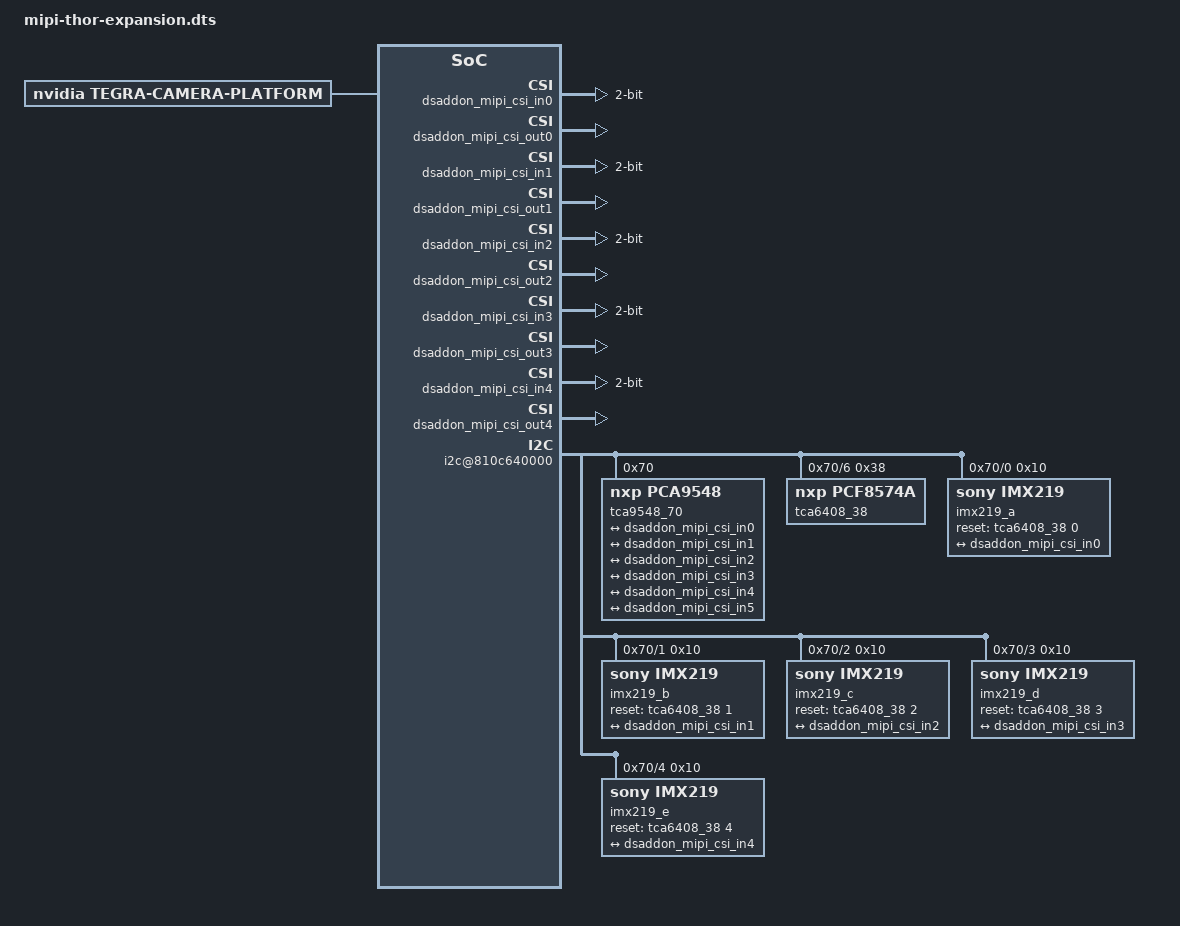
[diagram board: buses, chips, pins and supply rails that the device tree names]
/dts-v1/;
/plugin/;

#include <dt-bindings/clock/tegra264-clock.h>
#include <dt-bindings/gpio/tegra264-gpio.h>
//#include <dt-bindings/tegra234-p3737-0000+p3701-0000.h>

#define JETSON_COMPATIBLE	"nvidia,p3971-0089+p3834-0008", "nvidia,p3971-0050+p3834-0005", "nvidia,p3971-0080+p3834-0008", "nvidia,p3834-0008", "nvidia,tegra264"

/ {
	overlay-name = "Dsaddon mipi agx 6ch";
	jetson-header-name = "Jetson AGX CSI Connector";
	compatible = JETSON_COMPATIBLE;
	
	fragment-mipi-camera-forecr-6ch@0 {
		target-path = "/";
		__overlay__ {
			tegra-capture-vi {
				num-channels = <0x06>;
				
				ports {
					status = "okay";
					
					port@0 {
						status = "okay";
						reg = <0>;
						dsaddon_mipi_vi_in0: endpoint {
							status = "okay";
							port-index = <0>;
							bus-width = <2>;
							remote-endpoint = <&dsaddon_mipi_csi_out0>;
						};
					};
					port@1 {
						status = "okay";
						reg = <1>;
						dsaddon_mipi_vi_in1: endpoint {
							status = "okay";
							port-index = <1>;
							bus-width = <2>;
							remote-endpoint = <&dsaddon_mipi_csi_out1>;
						};
					};
					port@2 {
						status = "okay";
						reg = <2>;
						dsaddon_mipi_vi_in2: endpoint {
							status = "okay";
							port-index = <2>;
							bus-width = <2>;
							remote-endpoint = <&dsaddon_mipi_csi_out2>;
						};
					};
					port@3 {
						status = "okay";
						reg = <3>;
						dsaddon_mipi_vi_in3: endpoint {
							status = "okay";
							port-index = <3>;
							bus-width = <2>;
							remote-endpoint = <&dsaddon_mipi_csi_out3>;
						};
					};
					port@4 {
						status = "okay";
						reg = <4>;
						dsaddon_mipi_vi_in4: endpoint {
							status = "okay";
							port-index = <4>;
							bus-width = <2>;
							remote-endpoint = <&dsaddon_mipi_csi_out4>;
						};
					};
					port@5 {
						status="disabled";
						reg = <5>;
						dsaddon_mipi_vi_in5: endpoint {
							status="disabled";
							port-index = <5>;
							bus-width = <2>;
							remote-endpoint = <&dsaddon_mipi_csi_out5>;
						};
					};
				};
			};
			bus@0 {
				host1x@8181200000 {
					nvcsi@8188000000 {
						num-channels = <0x06>;
						#address-cells = <1>;
						#size-cells = <0>;
						channel@0 {
							status = "okay";
							reg = <0>;
							ports {
								#address-cells = <1>;
								#size-cells = <0>;
								port@0 {
									status = "okay";
									reg = <0>;
									dsaddon_mipi_csi_in0: endpoint@0 {
										status = "okay";
										port-index = <0>;
										bus-width = <2>;
										remote-endpoint = <&dsaddon_mipi_imx219_out0>;
									};
								};
								port@1 {
									status = "okay";
									reg = <1>;
									dsaddon_mipi_csi_out0: endpoint@1 {
										status = "okay";
										remote-endpoint = <&dsaddon_mipi_vi_in0>;
									};
								};
							};
						};
						
						channel@1 {
							status = "okay";
							reg = <1>;
							ports {
								#address-cells = <1>;
								#size-cells = <0>;
								port@0 {
									status = "okay";
									reg = <0>;
									dsaddon_mipi_csi_in1: endpoint@2 {
										status = "okay";
										port-index = <1>;
										bus-width = <2>;
										remote-endpoint = <&dsaddon_mipi_imx219_out1>;
									};
								};
								port@1 {
									status = "okay";
									reg = <1>;
									dsaddon_mipi_csi_out1: endpoint@3 {
										status = "okay";
										remote-endpoint = <&dsaddon_mipi_vi_in1>;
									};
								};
							};
						};
						
						channel@2 {
							status = "okay";
							reg = <2>;
							ports {
								#address-cells = <1>;
								#size-cells = <0>;
								port@0 {
									status = "okay";
									reg = <0>;
									dsaddon_mipi_csi_in2: endpoint@4 {
										status = "okay";
										port-index = <2>;
										bus-width = <2>;
										remote-endpoint = <&dsaddon_mipi_imx219_out2>;
									};
								};
								port@1 {
									status = "okay";
									reg = <1>;
									dsaddon_mipi_csi_out2: endpoint@5 {
										status = "okay";
										remote-endpoint = <&dsaddon_mipi_vi_in2>;
									};
								};
							};
						};
						channel@3 {
							status = "okay";
							reg = <3>;
							ports {
								#address-cells = <1>;
								#size-cells = <0>;
								port@0 {
									status = "okay";
									reg = <0>;
									dsaddon_mipi_csi_in3: endpoint@6 {
										status = "okay";
										port-index = <3>;
										bus-width = <2>;
										remote-endpoint = <&dsaddon_mipi_imx219_out3>;
									};
								};
								port@1 {
									status = "okay";
									reg = <1>;
									dsaddon_mipi_csi_out3: endpoint@7 {
										status = "okay";
										remote-endpoint = <&dsaddon_mipi_vi_in3>;
									};
								};
							};
						};
						channel@4 {
							status = "okay";
							reg = <4>;
							ports {
								#address-cells = <1>;
								#size-cells = <0>;
								port@0 {
									status = "okay";
									reg = <0>;
									dsaddon_mipi_csi_in4: endpoint@8 {
										status = "okay";
										port-index = <4>;
										bus-width = <2>;
										remote-endpoint = <&dsaddon_mipi_imx219_out4>;
									};
								};
								port@1 {
									status = "okay";
									reg = <1>;
									dsaddon_mipi_csi_out4: endpoint@9 {
										status = "okay";
										remote-endpoint = <&dsaddon_mipi_vi_in4>;
									};
								};
							};
						};
						
						channel@5 {
							status="disabled";
							reg = <5>;
							ports {
								#address-cells = <1>;
								#size-cells = <0>;
								port@0 {
									status="disabled";
									reg = <0>;
									dsaddon_mipi_csi_in5: endpoint@10 {
										status="disabled";
										port-index = <5>;
										bus-width = <2>;
										remote-endpoint = <&dsaddon_mipi_imx219_out5>;
									};
								};
								port@1 {
									status="disabled";
									reg = <1>;
									dsaddon_mipi_csi_out5: endpoint@11 {
										status="disabled";
										remote-endpoint = <&dsaddon_mipi_vi_in5>;
									};
								};
							};
						};
					};
				};
				
				i2c@810c640000 {
					status = "okay";
					
					tca9548_70: tca9548@70 {
						status = "okay";
						compatible = "nxp,pca9548";
						reg = <0x70>;
						#address-cells = <1>;
						#size-cells = <0>;
						i2c-mux-idle-disconnect;
						skip_mux_detect = "yes";
						vcc_lp = "vcc";
						
						i2c@6 {
							status = "okay";
							reg = <0x06>;
							#address-cells = <0x01>;
							#size-cells = <0x00>;
							
							tca6408_38: tca6408@38 {
								status = "okay";
								compatible = "nxp,pcf8574a";
								reg = <0x38>;
								gpio-controller;
								#gpio-cells = <2>;
								lines-initial-states = <0x00>;
								gpio-line-names =
								"tca6408_38_outlow_0",
								"tca6408_38_outlow_1",
								"tca6408_38_outlow_2",
								"tca6408_38_outlow_3",
								"tca6408_38_outlow_4",
								"tca6408_38_outlow_5",
								"tca6408_38_outlow_6",
								"tca6408_38_outlow_7";
							};
						};
						i2c@0 {
							status = "okay";
							reg = <0x00>;
							i2c-mux,deselect-on-exit;
							#address-cells = <0x01>;
							#size-cells = <0x00>;
							
							imx219_a@10 {
								status = "okay";
								compatible = "sony,imx219";
								/* I2C device address */
								reg = <0x10>;
								
								/* V4L2 device node location */
								devnode = "video0";
								
								/* Physical dimensions of sensor */
								physical_w = "3.680";
								physical_h = "2.760";
								
								sensor_model = "imx219";
								
								use_sensor_mode_id = "true";
								reset-gpios = <&tca6408_38 0 GPIO_ACTIVE_HIGH>;
								mode0 { /* IMX219_MODE_3280x2464_21FPS */
									mclk_khz = "24000";
									num_lanes = "2";
									tegra_sinterface = "serial_a";
									phy_mode = "DPHY";
									discontinuous_clk = "yes";
									dpcm_enable = "false";
									cil_settletime = "0";
									
									active_w = "3280";
									active_h = "2464";
									mode_type = "bayer";
									pixel_phase = "rggb";
									csi_pixel_bit_depth = "10";
									readout_orientation = "90";
									line_length = "3448";
									inherent_gain = "1";
									mclk_multiplier = "9.33";
									pix_clk_hz = "182400000";
									
									gain_factor = "16";
									framerate_factor = "1000000";
									exposure_factor = "1000000";
									min_gain_val = "16"; /* 1.00x */
									max_gain_val = "170"; /* 10.66x */
									step_gain_val = "1";
									default_gain = "16"; /* 1.00x */
									min_hdr_ratio = "1";
									max_hdr_ratio = "1";
									min_framerate = "2000000"; /* 2.0 fps */
									max_framerate = "21000000"; /* 21.0 fps */
									step_framerate = "1";
									default_framerate = "21000000"; /* 21.0 fps */
									min_exp_time = "13"; /* us */
									max_exp_time = "683709"; /* us */
									step_exp_time = "1";
									default_exp_time = "2495"; /* us */
									
									embedded_metadata_height = "2";
								};
								mode1 { /* IMX219_MODE_3280x1848_28FPS */
									mclk_khz = "24000";
									num_lanes = "2";
									tegra_sinterface = "serial_a";
									phy_mode = "DPHY";
									discontinuous_clk = "yes";
									dpcm_enable = "false";
									cil_settletime = "0";
									
									active_w = "3280";
									active_h = "1848";
									mode_type = "bayer";
									pixel_phase = "rggb";
									csi_pixel_bit_depth = "10";
									readout_orientation = "90";
									line_length = "3448";
									inherent_gain = "1";
									mclk_multiplier = "9.33";
									pix_clk_hz = "182400000";
									
									gain_factor = "16";
									framerate_factor = "1000000";
									exposure_factor = "1000000";
									min_gain_val = "16"; /* 1.00x */
									max_gain_val = "170"; /* 10.66x */
									step_gain_val = "1";
									default_gain = "16"; /* 1.00x */
									min_hdr_ratio = "1";
									max_hdr_ratio = "1";
									min_framerate = "2000000"; /* 2.0 fps */
									max_framerate = "28000000"; /* 28.0 fps */
									step_framerate = "1";
									default_framerate = "28000000"; /* 28.0 fps */
									min_exp_time = "13"; /* us */
									max_exp_time = "683709"; /* us */
									step_exp_time = "1";
									default_exp_time = "2495"; /* us */
									
									embedded_metadata_height = "2";
								};
								mode2 { /* IMX219_MODE_1920x1080_30FPS */
									mclk_khz = "24000";
									num_lanes = "2";
									tegra_sinterface = "serial_a";
									phy_mode = "DPHY";
									discontinuous_clk = "yes";
									dpcm_enable = "false";
									cil_settletime = "0";
									
									active_w = "1920";
									active_h = "1080";
									mode_type = "bayer";
									pixel_phase = "rggb";
									csi_pixel_bit_depth = "10";
									readout_orientation = "90";
									line_length = "3448";
									inherent_gain = "1";
									mclk_multiplier = "9.33";
									pix_clk_hz = "182400000";
									
									gain_factor = "16";
									framerate_factor = "1000000";
									exposure_factor = "1000000";
									min_gain_val = "16"; /* 1.00x */
									max_gain_val = "170"; /* 10.66x */
									step_gain_val = "1";
									default_gain = "16"; /* 1.00x */
									min_hdr_ratio = "1";
									max_hdr_ratio = "1";
									min_framerate = "2000000"; /* 2.0 fps */
									max_framerate = "30000000"; /* 30.0 fps */
									step_framerate = "1";
									default_framerate = "30000000"; /* 30.0 fps */
									min_exp_time = "13"; /* us */
									max_exp_time = "683709"; /* us */
									step_exp_time = "1";
									default_exp_time = "2495"; /* us */
									
									embedded_metadata_height = "2";
								};
								
								mode3 { /* IMX219_MODE_1640x1232_30FPS */
									mclk_khz = "24000";
									num_lanes = "2";
									tegra_sinterface = "serial_a";
									phy_mode = "DPHY";
									discontinuous_clk = "yes";
									dpcm_enable = "false";
									cil_settletime = "0";
									
									active_w = "1640";
									active_h = "1232";
									mode_type = "bayer";
									pixel_phase = "rggb";
									csi_pixel_bit_depth = "10";
									readout_orientation = "90";
									line_length = "3448";
									inherent_gain = "1";
									mclk_multiplier = "9.33";
									pix_clk_hz = "182400000";
									
									gain_factor = "16";
									framerate_factor = "1000000";
									exposure_factor = "1000000";
									min_gain_val = "16"; /* 1.00x */
									max_gain_val = "170"; /* 10.66x */
									step_gain_val = "1";
									default_gain = "16"; /* 1.00x */
									min_hdr_ratio = "1";
									max_hdr_ratio = "1";
									min_framerate = "2000000"; /* 2.0 fps */
									max_framerate = "30000000"; /* 60.0 fps */
									step_framerate = "1";
									default_framerate = "30000000"; /* 60.0 fps */
									min_exp_time = "13"; /* us */
									max_exp_time = "683709"; /* us */
									step_exp_time = "1";
									default_exp_time = "2495"; /* us */
									
									embedded_metadata_height = "2";
								};
								
								mode4 { /* IMX219_MODE_1280x720_60FPS */
									mclk_khz = "24000";
									num_lanes = "2";
									tegra_sinterface = "serial_a";
									phy_mode = "DPHY";
									discontinuous_clk = "yes";
									dpcm_enable = "false";
									cil_settletime = "0";
									
									active_w = "1280";
									active_h = "720";
									mode_type = "bayer";
									pixel_phase = "rggb";
									csi_pixel_bit_depth = "10";
									readout_orientation = "90";
									line_length = "3448";
									inherent_gain = "1";
									mclk_multiplier = "9.33";
									pix_clk_hz = "182400000";
									
									gain_factor = "16";
									framerate_factor = "1000000";
									exposure_factor = "1000000";
									min_gain_val = "16"; /* 1.00x */
									max_gain_val = "170"; /* 10.66x */
									step_gain_val = "1";
									default_gain = "16"; /* 1.00x */
									min_hdr_ratio = "1";
									max_hdr_ratio = "1";
									min_framerate = "2000000"; /* 2.0 fps */
									max_framerate = "60000000"; /* 60.0 fps */
									step_framerate = "1";
									default_framerate = "60000000"; /* 60.0 fps */
									min_exp_time = "13"; /* us */
									max_exp_time = "683709"; /* us */
									step_exp_time = "1";
									default_exp_time = "2495"; /* us */
									
									embedded_metadata_height = "2";
								};
								
								ports {
									#address-cells = <1>;
									#size-cells = <0>;
									
									port@0 {
										status = "okay";
										reg = <0>;
										dsaddon_mipi_imx219_out0: endpoint {
											status = "okay";
											port-index = <0>;
											bus-width = <2>;
											remote-endpoint = <&dsaddon_mipi_csi_in0>;
										};
									};
								};
							};
						};
						i2c@1 {
							status = "okay";
							reg = <0x01>;
							i2c-mux,deselect-on-exit;
							#address-cells = <0x01>;
							#size-cells = <0x00>;
							imx219_b@10 {
								status = "okay";
								compatible = "sony,imx219";
								/* I2C device address */
								reg = <0x10>;
								
								/* V4L2 device node location */
								devnode = "video1";
								
								/* Physical dimensions of sensor */
								physical_w = "3.680";
								physical_h = "2.760";
								
								sensor_model = "imx219";
								
								use_sensor_mode_id = "true";
								reset-gpios = <&tca6408_38 1 GPIO_ACTIVE_HIGH>;
								mode0 { /* IMX219_MODE_3280x2464_21FPS */
									mclk_khz = "24000";
									num_lanes = "2";
									tegra_sinterface = "serial_b";
									phy_mode = "DPHY";
									discontinuous_clk = "yes";
									dpcm_enable = "false";
									cil_settletime = "0";
									
									active_w = "3280";
									active_h = "2464";
									mode_type = "bayer";
									pixel_phase = "rggb";
									csi_pixel_bit_depth = "10";
									readout_orientation = "90";
									line_length = "3448";
									inherent_gain = "1";
									mclk_multiplier = "9.33";
									pix_clk_hz = "182400000";
									
									gain_factor = "16";
									framerate_factor = "1000000";
									exposure_factor = "1000000";
									min_gain_val = "16"; /* 1.00x */
									max_gain_val = "170"; /* 10.66x */
									step_gain_val = "1";
									default_gain = "16"; /* 1.00x */
									min_hdr_ratio = "1";
									max_hdr_ratio = "1";
									min_framerate = "2000000"; /* 2.0 fps */
									max_framerate = "21000000"; /* 21.0 fps */
									step_framerate = "1";
									default_framerate = "21000000"; /* 21.0 fps */
									min_exp_time = "13"; /* us */
									max_exp_time = "683709"; /* us */
									step_exp_time = "1";
									default_exp_time = "2495"; /* us */
									
									embedded_metadata_height = "2";
								};
								mode1 { /* IMX219_MODE_3280x1848_28FPS */
									mclk_khz = "24000";
									num_lanes = "2";
									tegra_sinterface = "serial_b";
									phy_mode = "DPHY";
									discontinuous_clk = "yes";
									dpcm_enable = "false";
									cil_settletime = "0";
									
									active_w = "3280";
									active_h = "1848";
									mode_type = "bayer";
									pixel_phase = "rggb";
									csi_pixel_bit_depth = "10";
									readout_orientation = "90";
									line_length = "3448";
									inherent_gain = "1";
									mclk_multiplier = "9.33";
									pix_clk_hz = "182400000";
									
									gain_factor = "16";
									framerate_factor = "1000000";
									exposure_factor = "1000000";
									min_gain_val = "16"; /* 1.00x */
									max_gain_val = "170"; /* 10.66x */
									step_gain_val = "1";
									default_gain = "16"; /* 1.00x */
									min_hdr_ratio = "1";
									max_hdr_ratio = "1";
									min_framerate = "2000000"; /* 2.0 fps */
									max_framerate = "28000000"; /* 28.0 fps */
									step_framerate = "1";
									default_framerate = "28000000"; /* 28.0 fps */
									min_exp_time = "13"; /* us */
									max_exp_time = "683709"; /* us */
									step_exp_time = "1";
									default_exp_time = "2495"; /* us */
									
									embedded_metadata_height = "2";
								};
								mode2 { /* IMX219_MODE_1920x1080_30FPS */
									mclk_khz = "24000";
									num_lanes = "2";
									tegra_sinterface = "serial_b";
									phy_mode = "DPHY";
									discontinuous_clk = "yes";
									dpcm_enable = "false";
									cil_settletime = "0";
									
									active_w = "1920";
									active_h = "1080";
									mode_type = "bayer";
									pixel_phase = "rggb";
									csi_pixel_bit_depth = "10";
									readout_orientation = "90";
									line_length = "3448";
									inherent_gain = "1";
									mclk_multiplier = "9.33";
									pix_clk_hz = "182400000";
									
									gain_factor = "16";
									framerate_factor = "1000000";
									exposure_factor = "1000000";
									min_gain_val = "16"; /* 1.00x */
									max_gain_val = "170"; /* 10.66x */
									step_gain_val = "1";
									default_gain = "16"; /* 1.00x */
									min_hdr_ratio = "1";
									max_hdr_ratio = "1";
									min_framerate = "2000000"; /* 2.0 fps */
									max_framerate = "30000000"; /* 30.0 fps */
									step_framerate = "1";
									default_framerate = "30000000"; /* 30.0 fps */
									min_exp_time = "13"; /* us */
									max_exp_time = "683709"; /* us */
									step_exp_time = "1";
									default_exp_time = "2495"; /* us */
									
									embedded_metadata_height = "2";
								};
								
								mode3 { /* IMX219_MODE_1640x1232_30FPS */
									mclk_khz = "24000";
									num_lanes = "2";
									tegra_sinterface = "serial_b";
									phy_mode = "DPHY";
									discontinuous_clk = "yes";
									dpcm_enable = "false";
									cil_settletime = "0";
									
									active_w = "1640";
									active_h = "1232";
									mode_type = "bayer";
									pixel_phase = "rggb";
									csi_pixel_bit_depth = "10";
									readout_orientation = "90";
									line_length = "3448";
									inherent_gain = "1";
									mclk_multiplier = "9.33";
									pix_clk_hz = "182400000";
									
									gain_factor = "16";
									framerate_factor = "1000000";
									exposure_factor = "1000000";
									min_gain_val = "16"; /* 1.00x */
									max_gain_val = "170"; /* 10.66x */
									step_gain_val = "1";
									default_gain = "16"; /* 1.00x */
									min_hdr_ratio = "1";
									max_hdr_ratio = "1";
									min_framerate = "2000000"; /* 2.0 fps */
									max_framerate = "30000000"; /* 60.0 fps */
									step_framerate = "1";
									default_framerate = "30000000"; /* 60.0 fps */
									min_exp_time = "13"; /* us */
									max_exp_time = "683709"; /* us */
									step_exp_time = "1";
									default_exp_time = "2495"; /* us */
									
									embedded_metadata_height = "2";
								};
								
								mode4 { /* IMX219_MODE_1280x720_60FPS */
									mclk_khz = "24000";
									num_lanes = "2";
									tegra_sinterface = "serial_b";
									phy_mode = "DPHY";
									discontinuous_clk = "yes";
									dpcm_enable = "false";
									cil_settletime = "0";
									
									active_w = "1280";
									active_h = "720";
									mode_type = "bayer";
									pixel_phase = "rggb";
									csi_pixel_bit_depth = "10";
									readout_orientation = "90";
									line_length = "3448";
									inherent_gain = "1";
									mclk_multiplier = "9.33";
									pix_clk_hz = "182400000";
									
									gain_factor = "16";
									framerate_factor = "1000000";
									exposure_factor = "1000000";
									min_gain_val = "16"; /* 1.00x */
									max_gain_val = "170"; /* 10.66x */
									step_gain_val = "1";
									default_gain = "16"; /* 1.00x */
									min_hdr_ratio = "1";
									max_hdr_ratio = "1";
									min_framerate = "2000000"; /* 2.0 fps */
									max_framerate = "60000000"; /* 60.0 fps */
									step_framerate = "1";
									default_framerate = "60000000"; /* 60.0 fps */
									min_exp_time = "13"; /* us */
									max_exp_time = "683709"; /* us */
									step_exp_time = "1";
									default_exp_time = "2495"; /* us */
									
									embedded_metadata_height = "2";
								};
								
								ports {
									#address-cells = <1>;
									#size-cells = <0>;
									
									port@0 {
										reg = <0>;
										dsaddon_mipi_imx219_out1: endpoint {
											port-index = <1>;
											bus-width = <2>;
											remote-endpoint = <&dsaddon_mipi_csi_in1>;
										};
									};
								};
							};
						};
						i2c@2 {
							status = "okay";
							reg = <0x02>;
							i2c-mux,deselect-on-exit;
							#address-cells = <0x01>;
							#size-cells = <0x00>;
							imx219_c@10 {
								status = "okay";
								compatible = "sony,imx219";
								/* I2C device address */
								reg = <0x10>;
								
								/* V4L2 device node location */
								devnode = "video2";
								
								/* Physical dimensions of sensor */
								physical_w = "3.680";
								physical_h = "2.760";
								
								sensor_model = "imx219";
								
								use_sensor_mode_id = "true";
								
								reset-gpios = <&tca6408_38 2 GPIO_ACTIVE_HIGH>;
								mode0 { /* IMX219_MODE_3280x2464_21FPS */
									mclk_khz = "24000";
									num_lanes = "2";
									tegra_sinterface = "serial_c";
									phy_mode = "DPHY";
									discontinuous_clk = "yes";
									dpcm_enable = "false";
									cil_settletime = "0";
									
									active_w = "3280";
									active_h = "2464";
									mode_type = "bayer";
									pixel_phase = "rggb";
									csi_pixel_bit_depth = "10";
									readout_orientation = "90";
									line_length = "3448";
									inherent_gain = "1";
									mclk_multiplier = "9.33";
									pix_clk_hz = "182400000";
									
									gain_factor = "16";
									framerate_factor = "1000000";
									exposure_factor = "1000000";
									min_gain_val = "16"; /* 1.00x */
									max_gain_val = "170"; /* 10.66x */
									step_gain_val = "1";
									default_gain = "16"; /* 1.00x */
									min_hdr_ratio = "1";
									max_hdr_ratio = "1";
									min_framerate = "2000000"; /* 2.0 fps */
									max_framerate = "21000000"; /* 21.0 fps */
									step_framerate = "1";
									default_framerate = "21000000"; /* 21.0 fps */
									min_exp_time = "13"; /* us */
									max_exp_time = "683709"; /* us */
									step_exp_time = "1";
									default_exp_time = "2495"; /* us */
									
									embedded_metadata_height = "2";
								};
								mode1 { /* IMX219_MODE_3280x1848_28FPS */
									mclk_khz = "24000";
									num_lanes = "2";
									tegra_sinterface = "serial_c";
									phy_mode = "DPHY";
									discontinuous_clk = "yes";
									dpcm_enable = "false";
									cil_settletime = "0";
									
									active_w = "3280";
									active_h = "1848";
									mode_type = "bayer";
									pixel_phase = "rggb";
									csi_pixel_bit_depth = "10";
									readout_orientation = "90";
									line_length = "3448";
									inherent_gain = "1";
									mclk_multiplier = "9.33";
									pix_clk_hz = "182400000";
									
									gain_factor = "16";
									framerate_factor = "1000000";
									exposure_factor = "1000000";
									min_gain_val = "16"; /* 1.00x */
									max_gain_val = "170"; /* 10.66x */
									step_gain_val = "1";
									default_gain = "16"; /* 1.00x */
									min_hdr_ratio = "1";
									max_hdr_ratio = "1";
									min_framerate = "2000000"; /* 2.0 fps */
									max_framerate = "28000000"; /* 28.0 fps */
									step_framerate = "1";
									default_framerate = "28000000"; /* 28.0 fps */
									min_exp_time = "13"; /* us */
									max_exp_time = "683709"; /* us */
									step_exp_time = "1";
									default_exp_time = "2495"; /* us */
									
									embedded_metadata_height = "2";
								};
								mode2 { /* IMX219_MODE_1920x1080_30FPS */
									mclk_khz = "24000";
									num_lanes = "2";
									tegra_sinterface = "serial_c";
									phy_mode = "DPHY";
									discontinuous_clk = "yes";
									dpcm_enable = "false";
									cil_settletime = "0";
									
									active_w = "1920";
									active_h = "1080";
									mode_type = "bayer";
									pixel_phase = "rggb";
									csi_pixel_bit_depth = "10";
									readout_orientation = "90";
									line_length = "3448";
									inherent_gain = "1";
									mclk_multiplier = "9.33";
									pix_clk_hz = "182400000";
									
									gain_factor = "16";
									framerate_factor = "1000000";
									exposure_factor = "1000000";
									min_gain_val = "16"; /* 1.00x */
									max_gain_val = "170"; /* 10.66x */
									step_gain_val = "1";
									default_gain = "16"; /* 1.00x */
									min_hdr_ratio = "1";
									max_hdr_ratio = "1";
									min_framerate = "2000000"; /* 2.0 fps */
									max_framerate = "30000000"; /* 30.0 fps */
									step_framerate = "1";
									default_framerate = "30000000"; /* 30.0 fps */
									min_exp_time = "13"; /* us */
									max_exp_time = "683709"; /* us */
									step_exp_time = "1";
									default_exp_time = "2495"; /* us */
									
									embedded_metadata_height = "2";
								};
								
								mode3 { /* IMX219_MODE_1640x1232_30FPS */
									mclk_khz = "24000";
									num_lanes = "2";
									tegra_sinterface = "serial_c";
									phy_mode = "DPHY";
									discontinuous_clk = "yes";
									dpcm_enable = "false";
									cil_settletime = "0";
									
									active_w = "1640";
									active_h = "1232";
									mode_type = "bayer";
									pixel_phase = "rggb";
									csi_pixel_bit_depth = "10";
									readout_orientation = "90";
									line_length = "3448";
									inherent_gain = "1";
									mclk_multiplier = "9.33";
									pix_clk_hz = "182400000";
									
									gain_factor = "16";
									framerate_factor = "1000000";
									exposure_factor = "1000000";
									min_gain_val = "16"; /* 1.00x */
									max_gain_val = "170"; /* 10.66x */
									step_gain_val = "1";
									default_gain = "16"; /* 1.00x */
									min_hdr_ratio = "1";
									max_hdr_ratio = "1";
									min_framerate = "2000000"; /* 2.0 fps */
									max_framerate = "30000000"; /* 60.0 fps */
									step_framerate = "1";
									default_framerate = "30000000"; /* 60.0 fps */
									min_exp_time = "13"; /* us */
									max_exp_time = "683709"; /* us */
									step_exp_time = "1";
									default_exp_time = "2495"; /* us */
									
									embedded_metadata_height = "2";
								};
								
								mode4 { /* IMX219_MODE_1280x720_60FPS */
									mclk_khz = "24000";
									num_lanes = "2";
									tegra_sinterface = "serial_c";
									phy_mode = "DPHY";
									discontinuous_clk = "yes";
									dpcm_enable = "false";
									cil_settletime = "0";
									
									active_w = "1280";
									active_h = "720";
									mode_type = "bayer";
									pixel_phase = "rggb";
									csi_pixel_bit_depth = "10";
									readout_orientation = "90";
									line_length = "3448";
									inherent_gain = "1";
									mclk_multiplier = "9.33";
									pix_clk_hz = "182400000";
									
									gain_factor = "16";
									framerate_factor = "1000000";
									exposure_factor = "1000000";
									min_gain_val = "16"; /* 1.00x */
									max_gain_val = "170"; /* 10.66x */
									step_gain_val = "1";
									default_gain = "16"; /* 1.00x */
									min_hdr_ratio = "1";
									max_hdr_ratio = "1";
									min_framerate = "2000000"; /* 2.0 fps */
									max_framerate = "60000000"; /* 60.0 fps */
									step_framerate = "1";
									default_framerate = "60000000"; /* 60.0 fps */
									min_exp_time = "13"; /* us */
									max_exp_time = "683709"; /* us */
									step_exp_time = "1";
									default_exp_time = "2495"; /* us */
									
									embedded_metadata_height = "2";
								};
								
								ports {
									#address-cells = <1>;
									#size-cells = <0>;
									
									port@0 {
										reg = <0>;
										dsaddon_mipi_imx219_out2: endpoint {
											port-index = <2>;
											bus-width = <2>;
											remote-endpoint = <&dsaddon_mipi_csi_in2>;
										};
									};
								};
							};
						};
						i2c@3 {
							status = "okay";
							reg = <0x03>;
							i2c-mux,deselect-on-exit;
							#address-cells = <0x01>;
							#size-cells = <0x00>;
							imx219_d@10 {
								status = "okay";
								compatible = "sony,imx219";
								/* I2C device address */
								reg = <0x10>;
								
								/* V4L2 device node location */
								devnode = "video3";
								
								/* Physical dimensions of sensor */
								physical_w = "3.680";
								physical_h = "2.760";
								
								sensor_model = "imx219";
								
								use_sensor_mode_id = "true";
								
								reset-gpios = <&tca6408_38 3 GPIO_ACTIVE_HIGH>;
								mode0 { /* IMX219_MODE_3280x2464_21FPS */
									mclk_khz = "24000";
									num_lanes = "2";
									tegra_sinterface = "serial_d";
									phy_mode = "DPHY";
									discontinuous_clk = "yes";
									dpcm_enable = "false";
									cil_settletime = "0";
									
									active_w = "3280";
									active_h = "2464";
									mode_type = "bayer";
									pixel_phase = "rggb";
									csi_pixel_bit_depth = "10";
									readout_orientation = "90";
									line_length = "3448";
									inherent_gain = "1";
									mclk_multiplier = "9.33";
									pix_clk_hz = "182400000";
									
									gain_factor = "16";
									framerate_factor = "1000000";
									exposure_factor = "1000000";
									min_gain_val = "16"; /* 1.00x */
									max_gain_val = "170"; /* 10.66x */
									step_gain_val = "1";
									default_gain = "16"; /* 1.00x */
									min_hdr_ratio = "1";
									max_hdr_ratio = "1";
									min_framerate = "2000000"; /* 2.0 fps */
									max_framerate = "21000000"; /* 21.0 fps */
									step_framerate = "1";
									default_framerate = "21000000"; /* 21.0 fps */
									min_exp_time = "13"; /* us */
									max_exp_time = "683709"; /* us */
									step_exp_time = "1";
									default_exp_time = "2495"; /* us */
									
									embedded_metadata_height = "2";
								};
								mode1 { /* IMX219_MODE_3280x1848_28FPS */
									mclk_khz = "24000";
									num_lanes = "2";
									tegra_sinterface = "serial_d";
									phy_mode = "DPHY";
									discontinuous_clk = "yes";
									dpcm_enable = "false";
									cil_settletime = "0";
									
									active_w = "3280";
									active_h = "1848";
									mode_type = "bayer";
									pixel_phase = "rggb";
									csi_pixel_bit_depth = "10";
									readout_orientation = "90";
									line_length = "3448";
									inherent_gain = "1";
									mclk_multiplier = "9.33";
									pix_clk_hz = "182400000";
									
									gain_factor = "16";
									framerate_factor = "1000000";
									exposure_factor = "1000000";
									min_gain_val = "16"; /* 1.00x */
									max_gain_val = "170"; /* 10.66x */
									step_gain_val = "1";
									default_gain = "16"; /* 1.00x */
									min_hdr_ratio = "1";
									max_hdr_ratio = "1";
									min_framerate = "2000000"; /* 2.0 fps */
									max_framerate = "28000000"; /* 28.0 fps */
									step_framerate = "1";
									default_framerate = "28000000"; /* 28.0 fps */
									min_exp_time = "13"; /* us */
									max_exp_time = "683709"; /* us */
									step_exp_time = "1";
									default_exp_time = "2495"; /* us */
									
									embedded_metadata_height = "2";
								};
								mode2 { /* IMX219_MODE_1920x1080_30FPS */
									mclk_khz = "24000";
									num_lanes = "2";
									tegra_sinterface = "serial_d";
									phy_mode = "DPHY";
									discontinuous_clk = "yes";
									dpcm_enable = "false";
									cil_settletime = "0";
									
									active_w = "1920";
									active_h = "1080";
									mode_type = "bayer";
									pixel_phase = "rggb";
									csi_pixel_bit_depth = "10";
									readout_orientation = "90";
									line_length = "3448";
									inherent_gain = "1";
									mclk_multiplier = "9.33";
									pix_clk_hz = "182400000";
									
									gain_factor = "16";
									framerate_factor = "1000000";
									exposure_factor = "1000000";
									min_gain_val = "16"; /* 1.00x */
									max_gain_val = "170"; /* 10.66x */
									step_gain_val = "1";
									default_gain = "16"; /* 1.00x */
									min_hdr_ratio = "1";
									max_hdr_ratio = "1";
									min_framerate = "2000000"; /* 2.0 fps */
									max_framerate = "30000000"; /* 30.0 fps */
									step_framerate = "1";
									default_framerate = "30000000"; /* 30.0 fps */
									min_exp_time = "13"; /* us */
									max_exp_time = "683709"; /* us */
									step_exp_time = "1";
									default_exp_time = "2495"; /* us */
									
									embedded_metadata_height = "2";
								};
								
								mode3 { /* IMX219_MODE_1640x1232_30FPS */
									mclk_khz = "24000";
									num_lanes = "2";
									tegra_sinterface = "serial_d";
									phy_mode = "DPHY";
									discontinuous_clk = "yes";
									dpcm_enable = "false";
									cil_settletime = "0";
									
									active_w = "1640";
									active_h = "1232";
									mode_type = "bayer";
									pixel_phase = "rggb";
									csi_pixel_bit_depth = "10";
									readout_orientation = "90";
									line_length = "3448";
									inherent_gain = "1";
									mclk_multiplier = "9.33";
									pix_clk_hz = "182400000";
									
									gain_factor = "16";
									framerate_factor = "1000000";
									exposure_factor = "1000000";
									min_gain_val = "16"; /* 1.00x */
									max_gain_val = "170"; /* 10.66x */
									step_gain_val = "1";
									default_gain = "16"; /* 1.00x */
									min_hdr_ratio = "1";
									max_hdr_ratio = "1";
									min_framerate = "2000000"; /* 2.0 fps */
									max_framerate = "30000000"; /* 60.0 fps */
									step_framerate = "1";
									default_framerate = "30000000"; /* 60.0 fps */
									min_exp_time = "13"; /* us */
									max_exp_time = "683709"; /* us */
									step_exp_time = "1";
									default_exp_time = "2495"; /* us */
									
									embedded_metadata_height = "2";
								};
								
								mode4 { /* IMX219_MODE_1280x720_60FPS */
									mclk_khz = "24000";
									num_lanes = "2";
									tegra_sinterface = "serial_d";
									phy_mode = "DPHY";
									discontinuous_clk = "yes";
									dpcm_enable = "false";
									cil_settletime = "0";
									
									active_w = "1280";
									active_h = "720";
									mode_type = "bayer";
									pixel_phase = "rggb";
									csi_pixel_bit_depth = "10";
									readout_orientation = "90";
									line_length = "3448";
									inherent_gain = "1";
									mclk_multiplier = "9.33";
									pix_clk_hz = "182400000";
									
									gain_factor = "16";
									framerate_factor = "1000000";
									exposure_factor = "1000000";
									min_gain_val = "16"; /* 1.00x */
									max_gain_val = "170"; /* 10.66x */
									step_gain_val = "1";
									default_gain = "16"; /* 1.00x */
									min_hdr_ratio = "1";
									max_hdr_ratio = "1";
									min_framerate = "2000000"; /* 2.0 fps */
									max_framerate = "60000000"; /* 60.0 fps */
									step_framerate = "1";
									default_framerate = "60000000"; /* 60.0 fps */
									min_exp_time = "13"; /* us */
									max_exp_time = "683709"; /* us */
									step_exp_time = "1";
									default_exp_time = "2495"; /* us */
									
									embedded_metadata_height = "2";
								};
								
								ports {
									#address-cells = <1>;
									#size-cells = <0>;
									
									port@0 {
										reg = <0>;
										dsaddon_mipi_imx219_out3: endpoint {
											port-index = <3>;
											bus-width = <2>;
											remote-endpoint = <&dsaddon_mipi_csi_in3>;
										};
									};
								};
							};
						};
						i2c@4 {
							status = "okay";
							reg = <0x04>;
							i2c-mux,deselect-on-exit;
							#address-cells = <0x01>;
							#size-cells = <0x00>;
							imx219_e@10 {
								status = "okay";
								compatible = "sony,imx219";
								/* I2C device address */
								reg = <0x10>;
								
								/* V4L2 device node location */
								devnode = "video4";
								
								/* Physical dimensions of sensor */
								physical_w = "3.680";
								physical_h = "2.760";
								
								sensor_model = "imx219";
								
								use_sensor_mode_id = "true";
								reset-gpios = <&tca6408_38 4 GPIO_ACTIVE_HIGH>;
								mode0 { /* IMX219_MODE_3280x2464_21FPS */
									mclk_khz = "24000";
									num_lanes = "2";
									tegra_sinterface = "serial_e";
									phy_mode = "DPHY";
									discontinuous_clk = "yes";
									dpcm_enable = "false";
									cil_settletime = "0";
									
									active_w = "3280";
									active_h = "2464";
									mode_type = "bayer";
									pixel_phase = "rggb";
									csi_pixel_bit_depth = "10";
									readout_orientation = "90";
									line_length = "3448";
									inherent_gain = "1";
									mclk_multiplier = "9.33";
									pix_clk_hz = "182400000";
									
									gain_factor = "16";
									framerate_factor = "1000000";
									exposure_factor = "1000000";
									min_gain_val = "16"; /* 1.00x */
									max_gain_val = "170"; /* 10.66x */
									step_gain_val = "1";
									default_gain = "16"; /* 1.00x */
									min_hdr_ratio = "1";
									max_hdr_ratio = "1";
									min_framerate = "2000000"; /* 2.0 fps */
									max_framerate = "21000000"; /* 21.0 fps */
									step_framerate = "1";
									default_framerate = "21000000"; /* 21.0 fps */
									min_exp_time = "13"; /* us */
									max_exp_time = "683709"; /* us */
									step_exp_time = "1";
									default_exp_time = "2495"; /* us */
									
									embedded_metadata_height = "2";
								};
								mode1 { /* IMX219_MODE_3280x1848_28FPS */
									mclk_khz = "24000";
									num_lanes = "2";
									tegra_sinterface = "serial_e";
									phy_mode = "DPHY";
									discontinuous_clk = "yes";
									dpcm_enable = "false";
									cil_settletime = "0";
									
									active_w = "3280";
									active_h = "1848";
									mode_type = "bayer";
									pixel_phase = "rggb";
									csi_pixel_bit_depth = "10";
									readout_orientation = "90";
									line_length = "3448";
									inherent_gain = "1";
									mclk_multiplier = "9.33";
									pix_clk_hz = "182400000";
									
									gain_factor = "16";
									framerate_factor = "1000000";
									exposure_factor = "1000000";
									min_gain_val = "16"; /* 1.00x */
									max_gain_val = "170"; /* 10.66x */
									step_gain_val = "1";
									default_gain = "16"; /* 1.00x */
									min_hdr_ratio = "1";
									max_hdr_ratio = "1";
									min_framerate = "2000000"; /* 2.0 fps */
									max_framerate = "28000000"; /* 28.0 fps */
									step_framerate = "1";
									default_framerate = "28000000"; /* 28.0 fps */
									min_exp_time = "13"; /* us */
									max_exp_time = "683709"; /* us */
									step_exp_time = "1";
									default_exp_time = "2495"; /* us */
									
									embedded_metadata_height = "2";
								};
								mode2 { /* IMX219_MODE_1920x1080_30FPS */
									mclk_khz = "24000";
									num_lanes = "2";
									tegra_sinterface = "serial_e";
									phy_mode = "DPHY";
									discontinuous_clk = "yes";
									dpcm_enable = "false";
									cil_settletime = "0";
									
									active_w = "1920";
									active_h = "1080";
									mode_type = "bayer";
									pixel_phase = "rggb";
									csi_pixel_bit_depth = "10";
									readout_orientation = "90";
									line_length = "3448";
									inherent_gain = "1";
									mclk_multiplier = "9.33";
									pix_clk_hz = "182400000";
									
									gain_factor = "16";
									framerate_factor = "1000000";
									exposure_factor = "1000000";
									min_gain_val = "16"; /* 1.00x */
									max_gain_val = "170"; /* 10.66x */
									step_gain_val = "1";
									default_gain = "16"; /* 1.00x */
									min_hdr_ratio = "1";
									max_hdr_ratio = "1";
									min_framerate = "2000000"; /* 2.0 fps */
									max_framerate = "30000000"; /* 30.0 fps */
									step_framerate = "1";
									default_framerate = "30000000"; /* 30.0 fps */
									min_exp_time = "13"; /* us */
									max_exp_time = "683709"; /* us */
									step_exp_time = "1";
									default_exp_time = "2495"; /* us */
									
									embedded_metadata_height = "2";
								};
								
								mode3 { /* IMX219_MODE_1640x1232_30FPS */
									mclk_khz = "24000";
									num_lanes = "2";
									tegra_sinterface = "serial_e";
									phy_mode = "DPHY";
									discontinuous_clk = "yes";
									dpcm_enable = "false";
									cil_settletime = "0";
									
									active_w = "1640";
									active_h = "1232";
									mode_type = "bayer";
									pixel_phase = "rggb";
									csi_pixel_bit_depth = "10";
									readout_orientation = "90";
									line_length = "3448";
									inherent_gain = "1";
									mclk_multiplier = "9.33";
									pix_clk_hz = "182400000";
									
									gain_factor = "16";
									framerate_factor = "1000000";
									exposure_factor = "1000000";
									min_gain_val = "16"; /* 1.00x */
									max_gain_val = "170"; /* 10.66x */
									step_gain_val = "1";
									default_gain = "16"; /* 1.00x */
									min_hdr_ratio = "1";
									max_hdr_ratio = "1";
									min_framerate = "2000000"; /* 2.0 fps */
									max_framerate = "30000000"; /* 60.0 fps */
									step_framerate = "1";
									default_framerate = "30000000"; /* 60.0 fps */
									min_exp_time = "13"; /* us */
									max_exp_time = "683709"; /* us */
									step_exp_time = "1";
									default_exp_time = "2495"; /* us */
									
									embedded_metadata_height = "2";
								};
								
								mode4 { /* IMX219_MODE_1280x720_60FPS */
									mclk_khz = "24000";
									num_lanes = "2";
									tegra_sinterface = "serial_e";
									phy_mode = "DPHY";
									discontinuous_clk = "yes";
									dpcm_enable = "false";
									cil_settletime = "0";
									
									active_w = "1280";
									active_h = "720";
									mode_type = "bayer";
									pixel_phase = "rggb";
									csi_pixel_bit_depth = "10";
									readout_orientation = "90";
									line_length = "3448";
									inherent_gain = "1";
									mclk_multiplier = "9.33";
									pix_clk_hz = "182400000";
									
									gain_factor = "16";
									framerate_factor = "1000000";
									exposure_factor = "1000000";
									min_gain_val = "16"; /* 1.00x */
									max_gain_val = "170"; /* 10.66x */
									step_gain_val = "1";
									default_gain = "16"; /* 1.00x */
									min_hdr_ratio = "1";
									max_hdr_ratio = "1";
									min_framerate = "2000000"; /* 2.0 fps */
									max_framerate = "60000000"; /* 60.0 fps */
									step_framerate = "1";
									default_framerate = "60000000"; /* 60.0 fps */
									min_exp_time = "13"; /* us */
									max_exp_time = "683709"; /* us */
									step_exp_time = "1";
									default_exp_time = "2495"; /* us */
									
									embedded_metadata_height = "2";
								};
								
								ports {
									#address-cells = <1>;
									#size-cells = <0>;
									
									port@0 {
										reg = <0>;
										dsaddon_mipi_imx219_out4: endpoint {
											port-index = <4>;
											bus-width = <2>;
											remote-endpoint = <&dsaddon_mipi_csi_in4>;
										};
									};
								};
							};
						};
						i2c@5 {
							status = "disabled";
							reg = <0x05>;
							i2c-mux,deselect-on-exit;
							#address-cells = <0x01>;
							#size-cells = <0x00>;
							imx219_f@10 {
								status="disabled";
								compatible = "sony,imx219";
								/* I2C device address */
								reg = <0x10>;
								
								/* V4L2 device node location */
								devnode = "video5";
								
								/* Physical dimensions of sensor */
								physical_w = "3.680";
								physical_h = "2.760";
								
								sensor_model = "imx219";
								
								use_sensor_mode_id = "true";
								reset-gpios = <&tca6408_38 5 GPIO_ACTIVE_HIGH>;
								mode0 { /* IMX219_MODE_3280x2464_21FPS */
									mclk_khz = "24000";
									num_lanes = "2";
									tegra_sinterface = "serial_f";
									phy_mode = "DPHY";
									discontinuous_clk = "yes";
									dpcm_enable = "false";
									cil_settletime = "0";
									
									active_w = "3280";
									active_h = "2464";
									mode_type = "bayer";
									pixel_phase = "rggb";
									csi_pixel_bit_depth = "10";
									readout_orientation = "90";
									line_length = "3448";
									inherent_gain = "1";
									mclk_multiplier = "9.33";
									pix_clk_hz = "182400000";
									
									gain_factor = "16";
									framerate_factor = "1000000";
									exposure_factor = "1000000";
									min_gain_val = "16"; /* 1.00x */
									max_gain_val = "170"; /* 10.66x */
									step_gain_val = "1";
									default_gain = "16"; /* 1.00x */
									min_hdr_ratio = "1";
									max_hdr_ratio = "1";
									min_framerate = "2000000"; /* 2.0 fps */
									max_framerate = "21000000"; /* 21.0 fps */
									step_framerate = "1";
									default_framerate = "21000000"; /* 21.0 fps */
									min_exp_time = "13"; /* us */
									max_exp_time = "683709"; /* us */
									step_exp_time = "1";
									default_exp_time = "2495"; /* us */
									
									embedded_metadata_height = "2";
								};
								mode1 { /* IMX219_MODE_3280x1848_28FPS */
									mclk_khz = "24000";
									num_lanes = "2";
									tegra_sinterface = "serial_f";
									phy_mode = "DPHY";
									discontinuous_clk = "yes";
									dpcm_enable = "false";
									cil_settletime = "0";
									
									active_w = "3280";
									active_h = "1848";
									mode_type = "bayer";
									pixel_phase = "rggb";
									csi_pixel_bit_depth = "10";
									readout_orientation = "90";
									line_length = "3448";
									inherent_gain = "1";
									mclk_multiplier = "9.33";
									pix_clk_hz = "182400000";
									
									gain_factor = "16";
									framerate_factor = "1000000";
									exposure_factor = "1000000";
									min_gain_val = "16"; /* 1.00x */
									max_gain_val = "170"; /* 10.66x */
									step_gain_val = "1";
									default_gain = "16"; /* 1.00x */
									min_hdr_ratio = "1";
									max_hdr_ratio = "1";
									min_framerate = "2000000"; /* 2.0 fps */
									max_framerate = "28000000"; /* 28.0 fps */
									step_framerate = "1";
									default_framerate = "28000000"; /* 28.0 fps */
									min_exp_time = "13"; /* us */
									max_exp_time = "683709"; /* us */
									step_exp_time = "1";
									default_exp_time = "2495"; /* us */
									
									embedded_metadata_height = "2";
								};
								mode2 { /* IMX219_MODE_1920x1080_30FPS */
									mclk_khz = "24000";
									num_lanes = "2";
									tegra_sinterface = "serial_f";
									phy_mode = "DPHY";
									discontinuous_clk = "yes";
									dpcm_enable = "false";
									cil_settletime = "0";
									
									active_w = "1920";
									active_h = "1080";
									mode_type = "bayer";
									pixel_phase = "rggb";
									csi_pixel_bit_depth = "10";
									readout_orientation = "90";
									line_length = "3448";
									inherent_gain = "1";
									mclk_multiplier = "9.33";
									pix_clk_hz = "182400000";
									
									gain_factor = "16";
									framerate_factor = "1000000";
									exposure_factor = "1000000";
									min_gain_val = "16"; /* 1.00x */
									max_gain_val = "170"; /* 10.66x */
									step_gain_val = "1";
									default_gain = "16"; /* 1.00x */
									min_hdr_ratio = "1";
									max_hdr_ratio = "1";
									min_framerate = "2000000"; /* 2.0 fps */
									max_framerate = "30000000"; /* 30.0 fps */
									step_framerate = "1";
									default_framerate = "30000000"; /* 30.0 fps */
									min_exp_time = "13"; /* us */
									max_exp_time = "683709"; /* us */
									step_exp_time = "1";
									default_exp_time = "2495"; /* us */
									
									embedded_metadata_height = "2";
								};
								
								mode3 { /* IMX219_MODE_1640x1232_30FPS */
									mclk_khz = "24000";
									num_lanes = "2";
									tegra_sinterface = "serial_f";
									phy_mode = "DPHY";
									discontinuous_clk = "yes";
									dpcm_enable = "false";
									cil_settletime = "0";
									
									active_w = "1640";
									active_h = "1232";
									mode_type = "bayer";
									pixel_phase = "rggb";
									csi_pixel_bit_depth = "10";
									readout_orientation = "90";
									line_length = "3448";
									inherent_gain = "1";
									mclk_multiplier = "9.33";
									pix_clk_hz = "182400000";
									
									gain_factor = "16";
									framerate_factor = "1000000";
									exposure_factor = "1000000";
									min_gain_val = "16"; /* 1.00x */
									max_gain_val = "170"; /* 10.66x */
									step_gain_val = "1";
									default_gain = "16"; /* 1.00x */
									min_hdr_ratio = "1";
									max_hdr_ratio = "1";
									min_framerate = "2000000"; /* 2.0 fps */
									max_framerate = "30000000"; /* 60.0 fps */
									step_framerate = "1";
									default_framerate = "30000000"; /* 60.0 fps */
									min_exp_time = "13"; /* us */
									max_exp_time = "683709"; /* us */
									step_exp_time = "1";
									default_exp_time = "2495"; /* us */
									
									embedded_metadata_height = "2";
								};
								
								mode4 { /* IMX219_MODE_1280x720_60FPS */
									mclk_khz = "24000";
									num_lanes = "2";
									tegra_sinterface = "serial_f";
									phy_mode = "DPHY";
									discontinuous_clk = "yes";
									dpcm_enable = "false";
									cil_settletime = "0";
									
									active_w = "1280";
									active_h = "720";
									mode_type = "bayer";
									pixel_phase = "rggb";
									csi_pixel_bit_depth = "10";
									readout_orientation = "90";
									line_length = "3448";
									inherent_gain = "1";
									mclk_multiplier = "9.33";
									pix_clk_hz = "182400000";
									
									gain_factor = "16";
									framerate_factor = "1000000";
									exposure_factor = "1000000";
									min_gain_val = "16"; /* 1.00x */
									max_gain_val = "170"; /* 10.66x */
									step_gain_val = "1";
									default_gain = "16"; /* 1.00x */
									min_hdr_ratio = "1";
									max_hdr_ratio = "1";
									min_framerate = "2000000"; /* 2.0 fps */
									max_framerate = "60000000"; /* 60.0 fps */
									step_framerate = "1";
									default_framerate = "60000000"; /* 60.0 fps */
									min_exp_time = "13"; /* us */
									max_exp_time = "683709"; /* us */
									step_exp_time = "1";
									default_exp_time = "2495"; /* us */
									
									embedded_metadata_height = "2";
								};
								
								ports {
									#address-cells = <1>;
									#size-cells = <0>;
									
									port@0 {
										reg = <0>;
										dsaddon_mipi_imx219_out5: endpoint {
											port-index = <5>;
											bus-width = <2>;
											remote-endpoint = <&dsaddon_mipi_csi_in5>;
										};
									};
								};
							};
						};
					};
				};
				dsaddon_mipi_lens_imx219@P5V27C {
					min_focus_distance = "0.0";
					hyper_focal = "0.0";
					focal_length = "3.04";
					f_number = "2.0";
					aperture = "0.0";
				};
			};
			tegra-camera-platform {
				compatible = "nvidia, tegra-camera-platform";
				num_csi_lanes = <12>;
				max_lane_speed = <1500000>;
				min_bits_per_pixel = <10>;
				vi_peak_byte_per_pixel = <2>;
				vi_bw_margin_pct = <25>;
				max_pixel_rate = <240000>;
				isp_peak_byte_per_pixel = <5>;
				isp_bw_margin_pct = <25>;
				tpg_max_iso = <3916800>;
				
				modules {
					status = "okay";
					
					module0 {
						status = "okay";
						badge = "forecr_bottomleft_RBP194";
						position = "bottomleft";
						orientation = "1";
						
						drivernode0 {
							status = "okay";
							pcl_id = "v4l2_sensor";
							sysfs-device-tree = "/sys/firmware/devicetree/base/bus@0/i2c@810c640000/tca9548@70/i2c@0/imx219_a@10";
						};
						drivernode1 {
							status = "okay";
							pcl_id = "v4l2_lens";
							sysfs-device-tree = "/sys/firmware/devicetree/base/bus@0/dsaddon_mipi_lens_imx219@P5V27C/";
						};
					};
					
					module1 {
						status = "okay";
						badge = "forecr_centerleft_RBP194";
						position = "centerleft";
						orientation = "1";
						
						drivernode0 {
							status = "okay";
							pcl_id = "v4l2_sensor";
							sysfs-device-tree = "/sys/firmware/devicetree/base/bus@0/i2c@810c640000/tca9548@70/i2c@1/imx219_b@10";
						};
					};
					
					module2 {
						status = "okay";
						badge = "forecr_centerright_RBP194";
						position = "centerright";
						orientation = "1";
						
						drivernode0 {
							status = "okay";
							pcl_id = "v4l2_sensor";
							sysfs-device-tree = "/sys/firmware/devicetree/base/bus@0/i2c@810c640000/tca9548@70/i2c@2/imx219_c@10";
						};
					};
					module3 {
						status = "okay";
						badge = "forecr_topleft_RBP194";
						position = "topleft";
						orientation = "1";
						
						drivernode0 {
							status = "okay";
							pcl_id = "v4l2_sensor";
							sysfs-device-tree = "/sys/firmware/devicetree/base/bus@0/i2c@810c640000/tca9548@70/i2c@3/imx219_d@10";
						};
						drivernode1 {
							status = "okay";
							pcl_id = "v4l2_lens";
							sysfs-device-tree = "/sys/firmware/devicetree/base/bus@0/dsaddon_mipi_lens_imx219@P5V27C/";
						};
					};
					module4 {
						status = "okay";
						badge = "forecr_bottomright_RBP194";
						position = "bottomright";
						orientation = "1";
						
						drivernode0 {
							status = "okay";
							pcl_id = "v4l2_sensor";
							sysfs-device-tree = "/sys/firmware/devicetree/base/bus@0/i2c@810c640000/tca9548@70/i2c@4/imx219_e@10";
						};
						drivernode1 {
							status = "okay";
							pcl_id = "v4l2_lens";
							sysfs-device-tree = "/sys/firmware/devicetree/base/bus@0/dsaddon_mipi_lens_imx219@P5V27C/";
						};
					};
					module5 {
						status = "disabled";
						badge = "forecr_topright_RBP194";
						position = "topright";
						orientation = "1";
						
						drivernode0 {
							status = "disabled";
							pcl_id = "v4l2_sensor";
							sysfs-device-tree = "/sys/firmware/devicetree/base/bus@0/i2c@810c640000/tca9548@70/i2c@5/imx219_f@10";
						};
						drivernode1 {
							status = "disabled";
							pcl_id = "v4l2_lens";
							sysfs-device-tree = "/sys/firmware/devicetree/base/bus@0/dsaddon_mipi_lens_imx219@P5V27C/";
						};
					};
				};
			};
		};
	};
};
